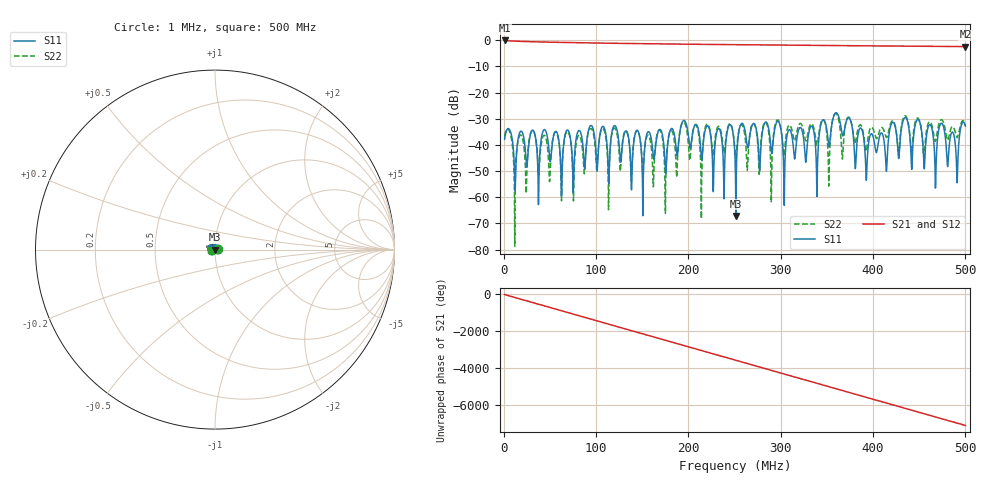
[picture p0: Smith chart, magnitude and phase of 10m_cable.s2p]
! MS46122B
! 1746301/73750021
! 11/1/2023 4:11:00 PM
! C:\USERS\SPEGWAL\DOWNLOADS\SAURABH\REACH\NODES\FRONT END\MEASUREMENTS\MEASURED S-PARAMETERS_01-11-2023\CABLES\10M_P1A1-P2A2.S2P
! CHANNEL.1
! TR.MEASUREMENT
! CORRECTED.DATA
# GHZ S RI R 50.0
! FREQ.GHZ  S11RE  S11IM  S21RE  S21IM  S12RE  S12IM  S22RE  S22IM
!; PortSelection: Port_12
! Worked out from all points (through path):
!   2001 points, 1 MHz to 500 MHz, reference 50 ohm
!   highest |S21| = -0.10 dB at 1.25 MHz (marker M1); lowest = -2.4 dB at 500 MHz (marker M2)
!   group delay of S21, straight-line fit = 39.6 ns
!   lowest |S11| = -67.1 dB at 251.5 MHz (marker M3), VSWR 1.00, Z = 50 - j0.0439 ohm
!   |S11| at or under -10 dB: start of sweep to end of sweep
!   |S22| runs from -78.7 to -28.0 dB; largest |S21 - S12| = 0.0043
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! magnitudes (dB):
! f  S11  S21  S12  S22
! 1 MHz  -37.9  -0.1  -0.1  -36.7
! 1.25 MHz  -37.1  -0.1  -0.1  -36.2
! 11.98 MHz  -53.7  -0.4  -0.4  -78.7
! 30.94 MHz  -34.4  -0.6  -0.6  -34.4
! 37.68 MHz  -62.8  -0.6  -0.7  -50.7
! 84.33 MHz  -36.6  -1.0  -1.0  -39.0
! 144.7 MHz  -34.5  -1.3  -1.3  -34.5
! 150.7 MHz  -67.0  -1.3  -1.3  -50.6
! 167.4 MHz  -34.8  -1.4  -1.4  -34.7
! 175.2 MHz  -49.7  -1.4  -1.4  -66.1
! 194.4 MHz  -30.8  -1.5  -1.5  -31.3
! 250.5 MHz  -45.0  -1.7  -1.7  -42.5
! 251.5 MHz  -67.1  -1.7  -1.7  -44.9
! 257.7 MHz  -31.8  -1.7  -1.7  -32.3
! 289.7 MHz  -42.1  -1.8  -1.9  -62.0
! 297.4 MHz  -31.0  -1.9  -1.9  -30.6
! 303.9 MHz  -63.1  -1.9  -1.9  -43.3
! 333.8 MHz  -32.9  -2.0  -2.0  -32.0
! 416.9 MHz  -37.1  -2.2  -2.2  -34.6
! 474.3 MHz  -31.7  -2.4  -2.4  -30.3
! 490.8 MHz  -52.3  -2.4  -2.4  -37.1
! 500 MHz  -32.8  -2.4  -2.4  -32.6
